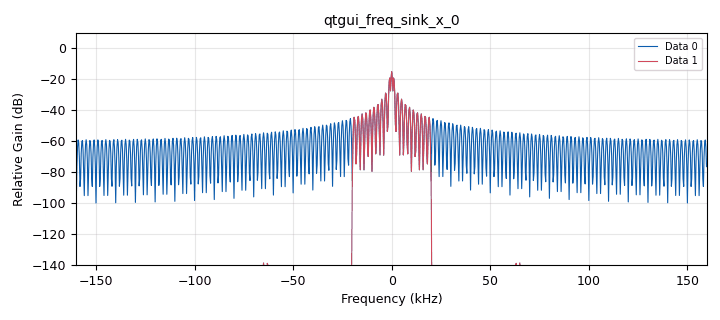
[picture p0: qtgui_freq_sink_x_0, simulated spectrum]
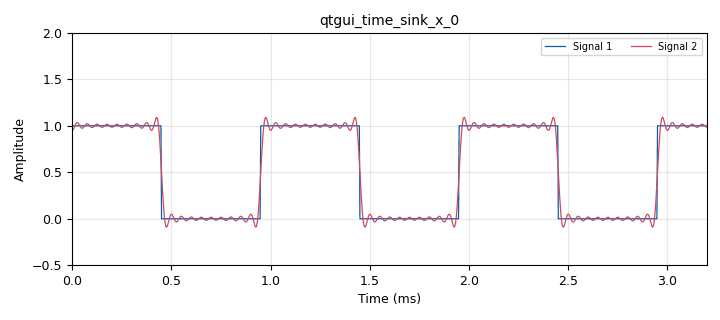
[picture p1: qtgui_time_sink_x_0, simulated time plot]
options:
  parameters:
    generate_options: qt_gui
    id: Square_wave
    output_language: python
    title: Not titled yet
  states: {}

blocks:
- name: freq
  id: variable
  parameters:
    value: '1000'
  states: {}
- name: samp_rate
  id: variable
  parameters:
    value: '320000'
  states: {}
- name: analog_const_source_x_0
  id: analog_const_source_x
  parameters:
    const: '0.5'
    type: float
  states: {}
- name: analog_sig_source_x_0
  id: analog_sig_source_x
  parameters:
    amp: '1'
    freq: freq
    offset: '0'
    phase: '0'
    samp_rate: samp_rate
    type: float
    waveform: analog.GR_SQR_WAVE
  states: {}
- name: analog_sig_source_x_1
  id: analog_sig_source_x
  parameters:
    amp: (2/3.14)
    freq: freq
    offset: '0'
    phase: '0'
    samp_rate: samp_rate
    type: float
    waveform: analog.GR_COS_WAVE
  states: {}
- name: analog_sig_source_x_1_0
  id: analog_sig_source_x
  parameters:
    amp: 2/(5*3.14)
    freq: 5*freq
    offset: '0'
    phase: '0'
    samp_rate: samp_rate
    type: float
    waveform: analog.GR_COS_WAVE
  states: {}
- name: analog_sig_source_x_1_0_0
  id: analog_sig_source_x
  parameters:
    amp: '-2/(7*3.14)'
    freq: 7*freq
    offset: '0'
    phase: '0'
    samp_rate: samp_rate
    type: float
    waveform: analog.GR_COS_WAVE
  states: {}
- name: analog_sig_source_x_1_0_0_0
  id: analog_sig_source_x
  parameters:
    amp: 2/(9*3.14)
    freq: 9*freq
    offset: '0'
    phase: '0'
    samp_rate: samp_rate
    type: float
    waveform: analog.GR_COS_WAVE
  states: {}
- name: analog_sig_source_x_1_0_0_0_0
  id: analog_sig_source_x
  parameters:
    amp: '-2/(11*3.14)'
    freq: 11*freq
    offset: '0'
    phase: '0'
    samp_rate: samp_rate
    type: float
    waveform: analog.GR_COS_WAVE
  states: {}
- name: analog_sig_source_x_1_0_0_0_0_0
  id: analog_sig_source_x
  parameters:
    amp: 2/(17*3.14)
    freq: 17*freq
    offset: '0'
    phase: '0'
    samp_rate: samp_rate
    type: float
    waveform: analog.GR_COS_WAVE
  states: {}
- name: analog_sig_source_x_1_0_0_0_0_0_0
  id: analog_sig_source_x
  parameters:
    amp: '-2/(15*3.14)'
    freq: 15*freq
    offset: '0'
    phase: '0'
    samp_rate: samp_rate
    type: float
    waveform: analog.GR_COS_WAVE
  states: {}
- name: analog_sig_source_x_1_0_0_0_0_0_0_0
  id: analog_sig_source_x
  parameters:
    amp: '-2/(19*3.14)'
    freq: 19*freq
    offset: '0'
    phase: '0'
    samp_rate: samp_rate
    type: float
    waveform: analog.GR_COS_WAVE
  states: {}
- name: analog_sig_source_x_1_0_0_0_0_0_0_0_0
  id: analog_sig_source_x
  parameters:
    amp: 2/(13*3.14)
    freq: 13*freq
    offset: '0'
    phase: '0'
    samp_rate: samp_rate
    type: float
    waveform: analog.GR_COS_WAVE
  states: {}
- name: analog_sig_source_x_2
  id: analog_sig_source_x
  parameters:
    amp: '-2/(3*3.14)'
    freq: 3*freq
    offset: '0'
    phase: '0'
    samp_rate: samp_rate
    type: float
    waveform: analog.GR_COS_WAVE
  states: {}
- name: blocks_add_xx_0
  id: blocks_add_xx
  parameters:
    num_inputs: '11'
    type: float
  states: {}
- name: blocks_delay_0
  id: blocks_delay
  parameters:
    delay: int(samp_rate/(4*freq))
    type: float
  states: {}
- name: blocks_throttle_0
  id: blocks_throttle
  parameters:
    samples_per_second: samp_rate
    type: float
  states: {}
- name: qtgui_freq_sink_x_0
  id: qtgui_freq_sink_x
  parameters:
    bw: samp_rate
    fc: '0'
    fftsize: '1024'
    nconnections: '2'
    type: float
    wintype: firdes.WIN_BLACKMAN_hARRIS
  states: {}
- name: qtgui_time_sink_x_0
  id: qtgui_time_sink_x
  parameters:
    nconnections: '2'
    size: '1024'
    srate: samp_rate
    type: float
    ymax: '2'
    ymin: '-0.5'
  states: {}

connections:
- [analog_const_source_x_0, '0', blocks_add_xx_0, '0']
- [analog_sig_source_x_0, '0', blocks_throttle_0, '0']
- [analog_sig_source_x_1, '0', blocks_add_xx_0, '1']
- [analog_sig_source_x_1_0, '0', blocks_add_xx_0, '3']
- [analog_sig_source_x_1_0_0, '0', blocks_add_xx_0, '4']
- [analog_sig_source_x_1_0_0_0, '0', blocks_add_xx_0, '5']
- [analog_sig_source_x_1_0_0_0_0, '0', blocks_add_xx_0, '6']
- [analog_sig_source_x_1_0_0_0_0_0, '0', blocks_add_xx_0, '9']
- [analog_sig_source_x_1_0_0_0_0_0_0, '0', blocks_add_xx_0, '8']
- [analog_sig_source_x_1_0_0_0_0_0_0_0, '0', blocks_add_xx_0, '10']
- [analog_sig_source_x_1_0_0_0_0_0_0_0_0, '0', blocks_add_xx_0, '7']
- [analog_sig_source_x_2, '0', blocks_add_xx_0, '2']
- [blocks_add_xx_0, '0', qtgui_freq_sink_x_0, '1']
- [blocks_add_xx_0, '0', qtgui_time_sink_x_0, '1']
- [blocks_delay_0, '0', qtgui_freq_sink_x_0, '0']
- [blocks_delay_0, '0', qtgui_time_sink_x_0, '0']
- [blocks_throttle_0, '0', blocks_delay_0, '0']

metadata:
  file_format: 1
